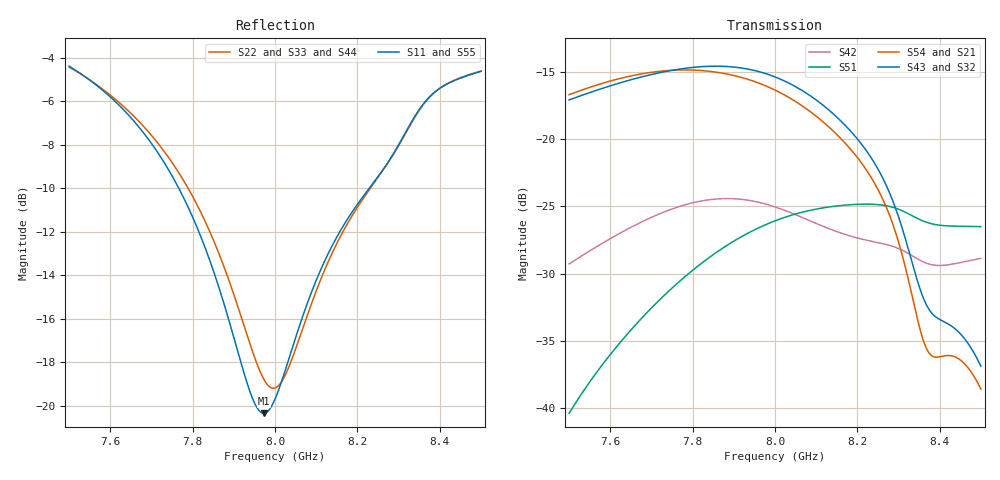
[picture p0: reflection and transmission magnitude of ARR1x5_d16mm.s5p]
! Touchstone file exported from HFSS 2025.1.0
!  File:  C:/Users/user/Documents/Ansoft/TFG_UWB-MIMO-Array.aedt
!  Generated:  02:04:19 PM Nov 20, 2026
!  Design:  ARR1x5_US3_PS6_dparam
!  Project:  TFG_UWB-MIMO-Array
!  Setup:  Setup_ch9
!  Solution:  Sweep_7p5_8p5
! Variables:
!  arr_d = 16mm
!  board_m = 13mm
!  board_x = 90mm
!  board_y = 26mm
!  cu_t = 0.035mm
!  line_w = 3.92mm
!  pad_xy = 22mm
!  pad_zn = 25mm
!  pad_zp = 33mm
!  par_L = 7.05mm
!  par_W = 11mm
!  par_yc = 0.615mm
!  par_z = 1.035mm
!  patch_L = 6.29mm
!  patch_W = 11.421266mm
!  sub_h = 2.07mm
!  tr_l = 6.6mm
!  tr_w = 0.8mm
!  u_Lu = 2.65mm
!  u_Wu = 4.4mm
!  u_t = 0.8mm
!  u_y0 = -0.7mm
# GHz S MA R 50.000000
! Terminal data exported
! Port[1] = P1
! Port[2] = P2
! Port[3] = P3
! Port[4] = P4
! Port[5] = P5
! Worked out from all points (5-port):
!   1001 points, 7.5 GHz to 8.5 GHz, reference 50 ohm
!   strongest paths, dB at 7.5 GHz, 7.75 GHz, 8 GHz, 8.25 GHz, 8.5 GHz:
!     S43: -17.1, -14.9, -15.4, -22.2, -36.9
!     S32: -17.1, -14.9, -15.4, -22.3, -37.2
!     S54: -16.7, -14.9, -16.4, -23.8, -38.6
!     S21: -16.7, -14.9, -16.4, -23.8, -39.1
!     S51: -40.4, -31.1, -26.1, -24.9, -26.5
!     S42: -29.3, -25.2, -25.0, -27.7, -28.9
!   lowest |S11| = -20.4 dB at 7.973 GHz (marker M1), VSWR 1.21, Z = 60.3 - j2.51 ohm
!   |S11| at or under -10 dB: 7.766 GHz to 8.229 GHz (462.4 MHz wide, 5.78 % of centre)
